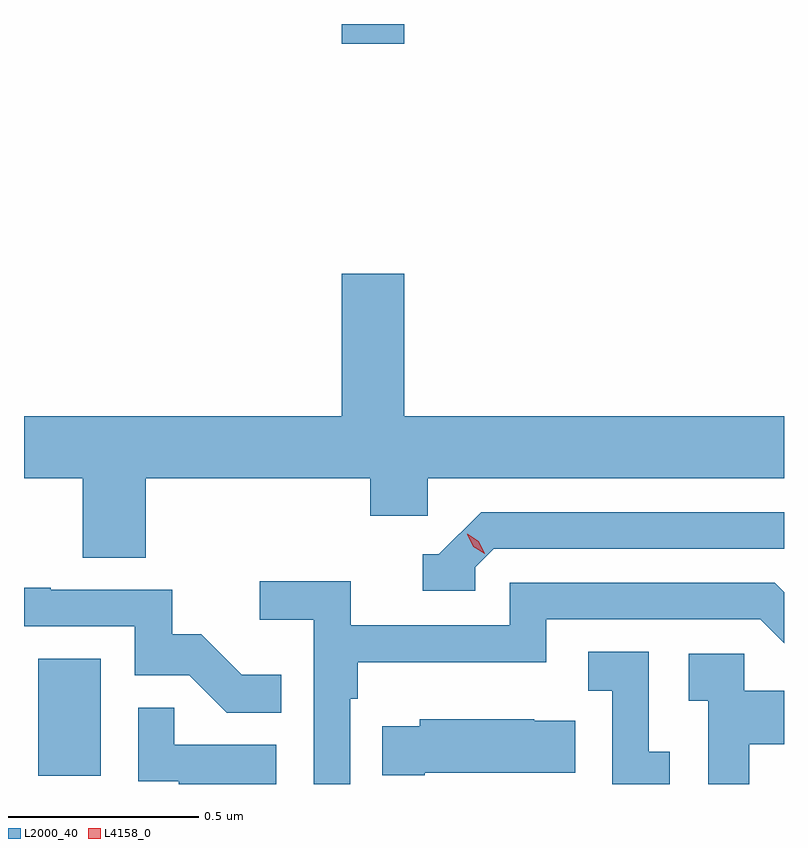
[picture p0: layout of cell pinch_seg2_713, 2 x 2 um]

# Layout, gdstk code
import gdstk
lib = gdstk.Library(unit=1e-6, precision=1e-09)
def R(c, l, rs):  # rectangles x0, y0, x1, y1
    for r in rs: c.add(gdstk.rectangle(r[:2], r[2:], *l))
def P(c, l, *ps):  # polygons
    for p in ps: c.add(gdstk.Polygon(p, *l))
L2000_40 = (2000, 40)
L4158_0 = (4158, 0)

pinch_seg2_713 = lib.new_cell('pinch_seg2_713')
R(pinch_seg2_713, L2000_40, [(1141.232,601.566,1141.396,601.873), (1142.03,603.492,1142.194,603.544)])
P(pinch_seg2_713, L2000_40, [(1141.514,602.348),(1142.105,602.348),(1142.105,602.25),(1142.256,602.25),(1142.256,602.348),(1143.194,602.348),(1143.194,602.512),(1142.194,602.512),(1142.194,602.887),(1142.03,602.887),(1142.03,602.512),(1141.194,602.512),(1141.194,602.348),(1141.349,602.348),(1141.349,602.14),(1141.514,602.14)],
  [(1142.382,602.115),(1142.43,602.163),(1143.194,602.163),(1143.194,602.259),(1142.397,602.259),(1142.286,602.148),(1142.243,602.148),(1142.243,602.052),(1142.382,602.052)],
  [(1142.052,601.769),(1142.072,601.769),(1142.072,601.865),(1142.568,601.865),(1142.568,601.977),(1143.132,601.977),(1143.194,601.915),(1143.194,602.048),(1143.169,602.073),(1142.472,602.073),(1142.472,601.962),(1142.054,601.962),(1142.054,602.078),(1141.815,602.078),(1141.815,601.976),(1141.956,601.976),(1141.956,601.544),(1142.052,601.544)],
  [(1141.871,601.831),(1141.767,601.831),(1141.66,601.938),(1141.584,601.938),(1141.584,602.055),(1141.265,602.055),(1141.265,602.06),(1141.194,602.06),(1141.194,601.959),(1141.485,601.959),(1141.485,601.83),(1141.629,601.83),(1141.727,601.732),(1141.871,601.732)],
  [(1142.893,601.629),(1142.838,601.629),(1142.838,601.892),(1142.679,601.892),(1142.679,601.789),(1142.742,601.789),(1142.742,601.544),(1142.893,601.544)],
  [(1143.103,601.649),(1143.194,601.649),(1143.194,601.789),(1143.09,601.789),(1143.09,601.887),(1142.943,601.887),(1142.943,601.763),(1142.994,601.763),(1142.994,601.544),(1143.103,601.544)],
  [(1141.858,601.647),(1141.589,601.647),(1141.589,601.745),(1141.494,601.745),(1141.494,601.551),(1141.601,601.551),(1141.601,601.544),(1141.858,601.544)],
  [(1142.248,601.574),(1142.645,601.574),(1142.645,601.711),(1142.537,601.711),(1142.537,601.714),(1142.235,601.714),(1142.235,601.696),(1142.137,601.696),(1142.137,601.567),(1142.248,601.567)])
P(pinch_seg2_713, L4158_0, [(1142.407,602.15),(1142.376,602.169),(1142.36,602.201),(1142.36,602.202),(1142.36,602.202),(1142.391,602.183),(1142.407,602.15),(1142.407,602.15)])

lib.write_gds('pinch_seg2_713.gds')
